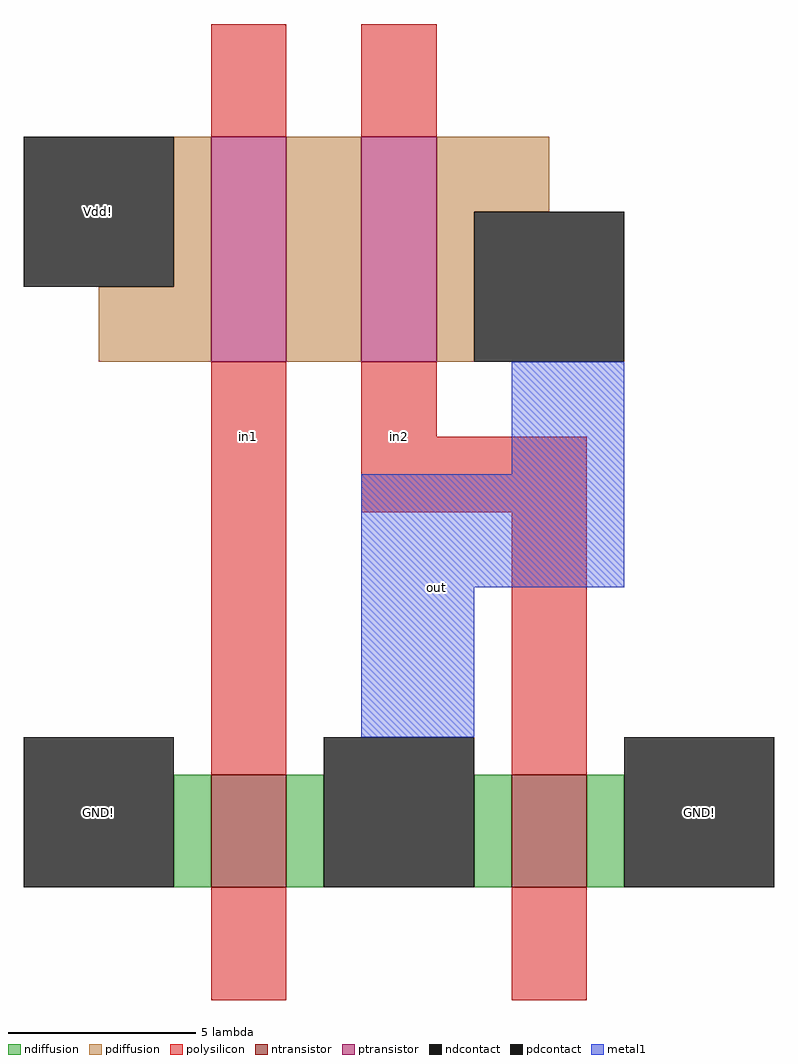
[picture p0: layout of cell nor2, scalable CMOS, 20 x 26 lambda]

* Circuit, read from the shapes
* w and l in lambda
.subckt nor2 GND! Vdd! in1 in2 out
M1 out in1 GND! VSUBS nfet w=3 l=2
M2 GND! in2 out VSUBS nfet w=3 l=2
M3 n1 in1 Vdd! NWELL pfet w=6 l=2
M4 out in2 n1 NWELL pfet w=6 l=2
.ends

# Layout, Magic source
magic
tech scmos
<< polysilicon >>
rect -39 12 -37 15
rect -35 12 -33 15
rect -39 -5 -37 6
rect -35 4 -33 6
rect -35 2 -29 4
rect -31 -5 -29 2
rect -39 -11 -37 -8
rect -31 -11 -29 -8
<< ndiffusion >>
rect -40 -8 -39 -5
rect -37 -8 -36 -5
rect -32 -8 -31 -5
rect -29 -8 -28 -5
<< pdiffusion >>
rect -40 8 -39 12
rect -42 6 -39 8
rect -37 6 -35 12
rect -33 10 -30 12
rect -33 6 -32 10
<< metal1 >>
rect -31 3 -28 6
rect -35 0 -28 3
rect -35 -4 -32 0
<< ntransistor >>
rect -39 -8 -37 -5
rect -31 -8 -29 -5
<< ptransistor >>
rect -39 6 -37 12
rect -35 6 -33 12
<< ndcontact >>
rect -44 -8 -40 -4
rect -36 -8 -32 -4
rect -28 -8 -24 -4
<< pdcontact >>
rect -44 8 -40 12
rect -32 6 -28 10
<< labels >>
rlabel metal1 -33 0 -33 0 1 out
rlabel ndcontact -42 -6 -42 -6 2 GND!
rlabel ndcontact -26 -6 -26 -6 8 GND!
rlabel pdcontact -42 10 -42 10 4 Vdd!
rlabel polysilicon -38 4 -38 4 1 in1
rlabel polysilicon -34 4 -34 4 1 in2
<< end >>
